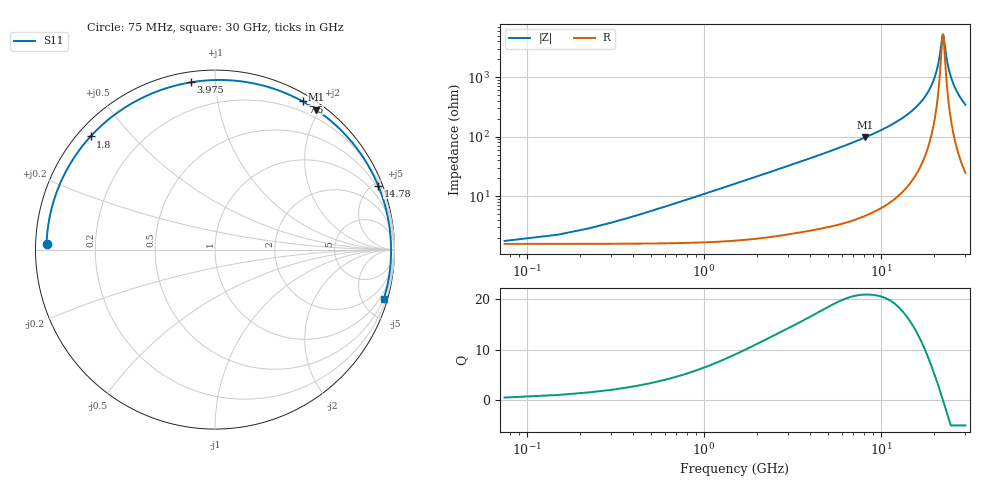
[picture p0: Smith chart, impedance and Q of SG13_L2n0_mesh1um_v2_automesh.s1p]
#  Hz  S  RI  R  50
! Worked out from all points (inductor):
!   400 points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, 75 MHz to 30 GHz, reference 50 ohm
!   read as one part to ground: L = 1.7 nH near 450 MHz
!   highest Q = 20.9 at 8.175 GHz (marker M1), where L = 1.9 nH
!   self-resonance near 22.41 GHz
!   S11 on the Smith chart (normalised r, x): 75 MHz: 0.03, +0.02; 1.8 GHz: 0.04, +0.39; 3.975 GHz: 0.05, +0.86; 7.5 GHz: 0.08, +1.75; 14.78 GHz: 0.34, +5.26; 30 GHz: 0.49, -6.90
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7.5e7  -0.9386 0.0302
4.5e8  -0.9215 0.1796
9e8  -0.8708 0.3493
1.35e9  -0.7923 0.5013
1.8e9  -0.6933 0.6304
2.25e9  -0.5814 0.7347
2.775e9  -0.4434 0.8259
3.3e9  -0.3052 0.8878
3.825e9  -0.1722 0.925
3.975e9  -0.1356 0.9318
4.35e9  -0.0475 0.9424
4.8e9  0.0515 0.9447
5.7e9  0.2264 0.9238
6.6e9  0.3713 0.8805
7.5e9  0.4894 0.8252
7.575e9  0.4982 0.8202
8.175e9  0.5632 0.7798
8.925e9  0.6326 0.7279
9.675e9  0.6911 0.6759
1.1325e10  0.7897 0.5647
1.2975e10  0.8579 0.4609
1.4775e10  0.9088 0.3571
1.5075e10  0.9155 0.3407
1.6875e10  0.9469 0.247
1.8825e10  0.9677 0.1538
2.2575e10  0.9811 -0.00652
2.6325e10  0.9698 -0.1493
3e10  0.9401 -0.2769
